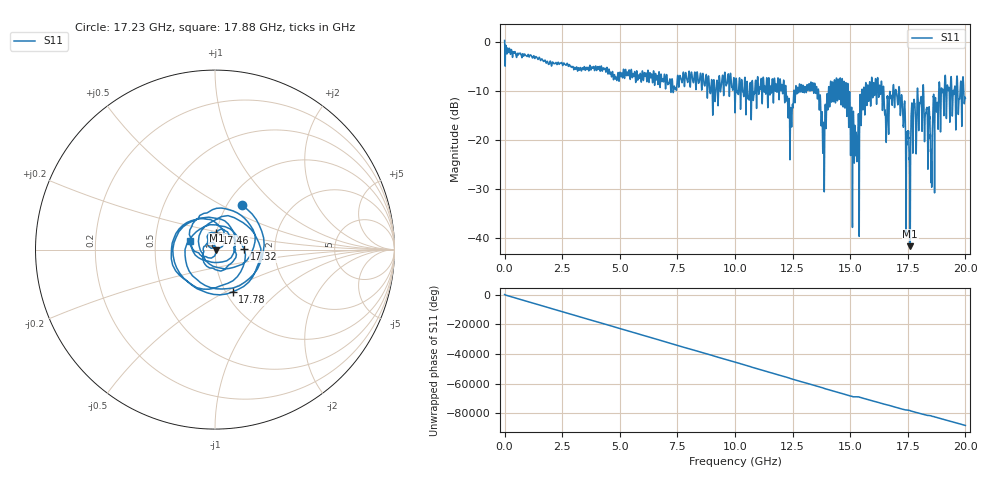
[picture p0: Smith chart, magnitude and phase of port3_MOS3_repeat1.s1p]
! MS46122B
! 2250307/22442219
! 7/22/2025 7:55:42 AM
! C:\USERS\SPARKY\DOCUMENTS\VNA_DATA\JULY22_2025\3K\PORT3_MOS3_REPEAT1.S1P
! CHANNEL.1
! TR.MEASUREMENT
! RAW.DATA
# GHZ S RI R 50.0
! FREQ.GHZ  S11RE  S11IM
!; PortSelection: Port_1
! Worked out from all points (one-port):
!   10001 points, 1 MHz to 20 GHz, reference 50 ohm
!   lowest |S11| = -41.8 dB at 17.61 GHz (marker M1), VSWR 1.02, Z = 50.7 - j0.366 ohm
!   |S11| at or under -10 dB: 14.91 GHz to 15.51 GHz (594.2 MHz wide, 3.91 % of centre); 17.14 GHz to 17.91 GHz (769.8 MHz wide, 4.39 % of centre); 18.19 GHz to 18.84 GHz (656.4 MHz wide, 3.55 % of centre) (the widest 3 of 83)
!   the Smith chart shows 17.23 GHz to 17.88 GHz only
!   S11 on the Smith chart (normalised r, x): 17.23 GHz: 1.17, +0.63; 17.32 GHz: 1.39, +0.01; 17.46 GHz: 0.99, +0.19; 17.78 GHz: 1.08, -0.54; 17.88 GHz: 0.75, +0.07
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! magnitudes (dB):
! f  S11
! 1 MHz  0.4
! 2.501 GHz  -4.4
! 5.001 GHz  -6.2
! 7.501 GHz  -7.1
! 10 GHz  -14.4
! 12.5 GHz  -12.8
! 13.38 GHz  -8.3
! 13.87 GHz  -24.1
! 14.07 GHz  -9.1
! 14.49 GHz  -7.6
! 15 GHz  -14.5
! 15.31 GHz  -23.7
! 15.51 GHz  -9.7
! 15.76 GHz  -8.7
! 16.27 GHz  -8.8
! 16.59 GHz  -15.7
! 16.8 GHz  -11.7
! 17.23 GHz  -10.8
! 17.32 GHz  -15.8
! 17.46 GHz  -20.5
! 17.5 GHz  -19.6
! 17.61 GHz  -41.8
! 17.78 GHz  -11.9
! 17.88 GHz  -16.5
! 18.11 GHz  -15.4
! 18.46 GHz  -15.7
! 19.05 GHz  -11.0
! 20 GHz  -11.4
